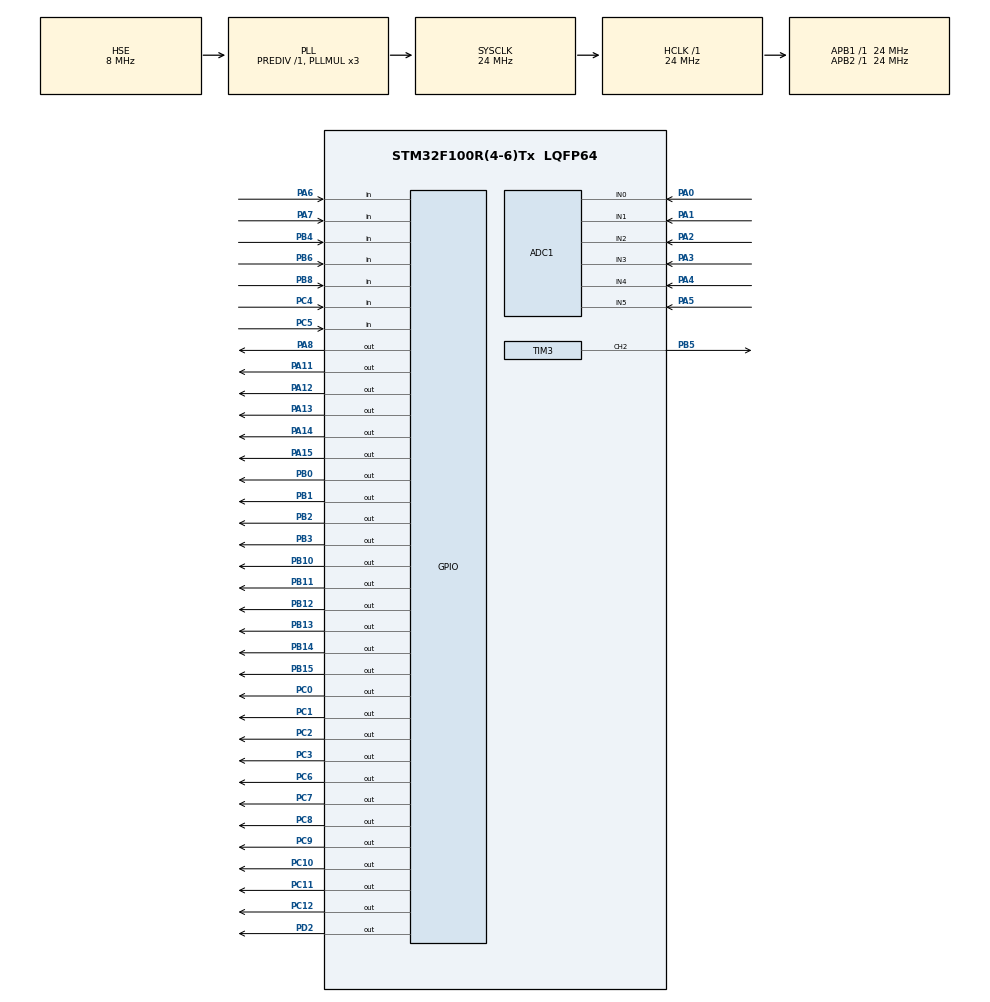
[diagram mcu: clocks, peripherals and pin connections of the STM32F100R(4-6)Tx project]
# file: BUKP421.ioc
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ADC1.Channel-0\#ChannelRegularConversion=ADC_CHANNEL_0
ADC1.Channel-1\#ChannelRegularConversion=ADC_CHANNEL_1
ADC1.Channel-2\#ChannelRegularConversion=ADC_CHANNEL_2
ADC1.Channel-3\#ChannelRegularConversion=ADC_CHANNEL_3
ADC1.Channel-4\#ChannelRegularConversion=ADC_CHANNEL_4
ADC1.Channel-5\#ChannelRegularConversion=ADC_CHANNEL_5
ADC1.ContinuousConvMode=ENABLE
ADC1.DataAlign=ADC_DATAALIGN_RIGHT
ADC1.DiscontinuousConvMode=DISABLE
ADC1.EnableAnalogWatchDog=false
ADC1.EnableRegularConversion=ENABLE
ADC1.ExternalTrigConv=ADC_SOFTWARE_START
ADC1.InjNumberOfConversion=0
ADC1.NbrOfConversion=6
ADC1.NbrOfConversionFlag=1
ADC1.Rank-0\#ChannelRegularConversion=1
ADC1.Rank-1\#ChannelRegularConversion=2
ADC1.Rank-2\#ChannelRegularConversion=3
ADC1.Rank-3\#ChannelRegularConversion=4
ADC1.Rank-4\#ChannelRegularConversion=5
ADC1.Rank-5\#ChannelRegularConversion=6
ADC1.SamplingTime-0\#ChannelRegularConversion=ADC_SAMPLETIME_1CYCLE_5
ADC1.SamplingTime-1\#ChannelRegularConversion=ADC_SAMPLETIME_1CYCLE_5
ADC1.SamplingTime-2\#ChannelRegularConversion=ADC_SAMPLETIME_1CYCLE_5
ADC1.SamplingTime-3\#ChannelRegularConversion=ADC_SAMPLETIME_1CYCLE_5
ADC1.SamplingTime-4\#ChannelRegularConversion=ADC_SAMPLETIME_1CYCLE_5
ADC1.SamplingTime-5\#ChannelRegularConversion=ADC_SAMPLETIME_1CYCLE_5
ADC1.ScanConvMode=ADC_SCAN_ENABLE
ADC1.master=1
Dma.ADC1.0.Direction=DMA_PERIPH_TO_MEMORY
Dma.ADC1.0.Instance=DMA1_Channel1
Dma.ADC1.0.MemDataAlignment=DMA_MDATAALIGN_HALFWORD
Dma.ADC1.0.MemInc=DMA_MINC_ENABLE
Dma.ADC1.0.Mode=DMA_CIRCULAR
Dma.ADC1.0.PeriphDataAlignment=DMA_PDATAALIGN_HALFWORD
Dma.ADC1.0.PeriphInc=DMA_PINC_DISABLE
Dma.ADC1.0.Priority=DMA_PRIORITY_MEDIUM
Dma.Request0=ADC1
Mcu.Family=STM32F1
Mcu.Name=STM32F100R(4-6)Tx
Mcu.Package=LQFP64
NVIC.DMA1_Channel1_IRQn=true\:0\:0\:false\:false\:true\:true
NVIC.PriorityGroup=NVIC_PRIORITYGROUP_4
NVIC.TIM1_BRK_TIM15_IRQn=true\:0\:0\:false\:false\:true\:true
NVIC.TIM1_TRG_COM_TIM17_IRQn=true\:0\:0\:false\:false\:true\:true
NVIC.TIM1_UP_TIM16_IRQn=true\:0\:0\:false\:false\:true\:true
NVIC.TIM6_DAC_IRQn=true\:0\:0\:false\:false\:true\:true
NVIC.TIM7_IRQn=true\:0\:0\:false\:false\:true\:true
PA0-WKUP.Signal=ADCx_IN0
PA1.Signal=ADCx_IN1
PA11.Signal=GPIO_Output
PA12.Signal=GPIO_Output
PA13.Signal=GPIO_Output
PA14.Signal=GPIO_Output
PA15.Signal=GPIO_Output
PA2.Signal=ADCx_IN2
PA3.Signal=ADCx_IN3
PA4.Signal=ADCx_IN4
PA5.Signal=ADCx_IN5
PA6.GPIO_Mode=GPIO_MODE_INPUT
PA6.GPIO_PuPd=GPIO_PULLUP
PA6.Signal=GPIO_Input
PA7.GPIO_Mode=GPIO_MODE_INPUT
PA7.GPIO_PuPd=GPIO_PULLUP
PA7.Signal=GPIO_Input
PA8.Signal=GPIO_Output
PB0.Signal=GPIO_Output
PB1.Signal=GPIO_Output
PB10.Signal=GPIO_Output
PB11.Signal=GPIO_Output
PB12.Signal=GPIO_Output
PB13.Signal=GPIO_Output
PB14.Signal=GPIO_Output
PB15.Signal=GPIO_Output
PB2.Signal=GPIO_Output
PB3.Signal=GPIO_Output
PB4.GPIO_PuPd=GPIO_PULLUP
PB4.Signal=GPIO_Input
PB5.Signal=S_TIM3_CH2
PB6.GPIO_PuPd=GPIO_PULLUP
PB6.Signal=GPIO_Input
PB8.GPIO_PuPd=GPIO_PULLDOWN
PB8.Signal=GPIO_Input
PC0.GPIO_ModeDefaultOutputPP=GPIO_MODE_OUTPUT_PP
PC0.GPIO_Speed=GPIO_SPEED_FREQ_LOW
PC0.PinState=GPIO_PIN_RESET
PC0.Signal=GPIO_Output
PC1.GPIO_ModeDefaultOutputPP=GPIO_MODE_OUTPUT_PP
PC1.GPIO_Speed=GPIO_SPEED_FREQ_LOW
PC1.PinState=GPIO_PIN_RESET
PC1.Signal=GPIO_Output
PC10.Signal=GPIO_Output
PC11.Signal=GPIO_Output
PC12.Signal=GPIO_Output
PC2.GPIO_ModeDefaultOutputPP=GPIO_MODE_OUTPUT_PP
PC2.GPIO_Speed=GPIO_SPEED_FREQ_LOW
PC2.PinState=GPIO_PIN_RESET
PC2.Signal=GPIO_Output
PC3.GPIO_ModeDefaultOutputPP=GPIO_MODE_OUTPUT_PP
PC3.GPIO_Speed=GPIO_SPEED_FREQ_LOW
PC3.PinState=GPIO_PIN_RESET
PC3.Signal=GPIO_Output
PC4.GPIO_Mode=GPIO_MODE_INPUT
PC4.GPIO_PuPd=GPIO_PULLUP
PC4.Signal=GPIO_Input
PC5.GPIO_Mode=GPIO_MODE_INPUT
PC5.GPIO_PuPd=GPIO_PULLUP
PC5.Signal=GPIO_Input
PC6.Signal=GPIO_Output
PC7.Signal=GPIO_Output
PC8.Signal=GPIO_Output
PC9.Signal=GPIO_Output
PD0-OSC_IN.Mode=HSE-External-Oscillator
PD0-OSC_IN.Signal=RCC_OSC_IN
PD1-OSC_OUT.Mode=HSE-External-Oscillator
PD1-OSC_OUT.Signal=RCC_OSC_OUT
PD2.Signal=GPIO_Output
ProjectManager.HeapSize=0x200
ProjectManager.StackSize=0x400
ProjectManager.TargetToolchain=MDK-ARM V5
RCC.AHBFreq_Value=24000000
RCC.APB1Freq_Value=24000000
RCC.APB1TimFreq_Value=24000000
RCC.APB2Freq_Value=24000000
RCC.APB2TimFreq_Value=24000000
RCC.HCLKFreq_Value=24000000
RCC.PLLMUL=RCC_PLL_MUL3
RCC.PLLSource=RCC_PLLSOURCE_HSE
RCC.SYSCLKFreq_VALUE=24000000
RCC.SYSCLKSource=RCC_SYSCLKSOURCE_PLLCLK
SH.ADCx_IN0.0=ADC1_IN0,IN0
SH.ADCx_IN1.0=ADC1_IN1,IN1
SH.ADCx_IN2.0=ADC1_IN2,IN2
SH.ADCx_IN3.0=ADC1_IN3,IN3
SH.ADCx_IN4.0=ADC1_IN4,IN4
SH.ADCx_IN5.0=ADC1_IN5,IN5
SH.S_TIM3_CH2.0=TIM3_CH2,PWM Generation2 CH2
TIM15.Period=1999
TIM15.Prescaler=23999
TIM16.Period=2999
TIM16.Prescaler=23999
TIM17.Period=14999
TIM17.Prescaler=23999
TIM3.Channel-PWM\ Generation2\ CH2=TIM_CHANNEL_2
TIM3.Period=999
TIM3.Prescaler=6
TIM3.Pulse-PWM\ Generation2\ CH2=500
TIM6.Period=499
TIM6.Prescaler=7999
TIM6.TIM_MasterOutputTrigger=TIM_TRGO_UPDATE
TIM7.Period=1999
TIM7.Prescaler=7999
TIM7.TIM_MasterOutputTrigger=TIM_TRGO_UPDATE
VP_SYS_VS_ND.Mode=No_Debug
VP_TIM15_VS_ClockSourceINT.Mode=Internal
VP_TIM16_VS_ClockSourceINT.Mode=Enable_Timer
VP_TIM17_VS_ClockSourceINT.Mode=Enable_Timer
VP_TIM3_VS_ClockSourceINT.Mode=Internal
VP_TIM6_VS_ClockSourceINT.Mode=Enable_Timer
VP_TIM7_VS_ClockSourceINT.Mode=Enable_Timer
board=BUKP421

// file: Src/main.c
/**
  ******************************************************************************
  * File Name          : main.c
  * Description        : Main program body
  ******************************************************************************
  ** This notice applies to any and all portions of this file
  * that are not between comment pairs USER CODE BEGIN and
  * USER CODE END. Other portions of this file, whether
  * inserted by the user or by software development tools
  * are owned by their respective copyright owners.
  *
  * COPYRIGHT(c) 2017 STMicroelectronics
  *
  * Redistribution and use in source and binary forms, with or without modification,
  * are permitted provided that the following conditions are met:
  *   1. Redistributions of source code must retain the above copyright notice,
  *      this list of conditions and the following disclaimer.
  *   2. Redistributions in binary form must reproduce the above copyright notice,
  *      this list of conditions and the following disclaimer in the documentation
  *      and/or other materials provided with the distribution.
  *   3. Neither the name of STMicroelectronics nor the names of its contributors
  *      may be used to endorse or promote products derived from this software
  *      without specific prior written permission.
  *
  * THIS SOFTWARE IS PROVIDED BY THE COPYRIGHT HOLDERS AND CONTRIBUTORS "AS IS"
  * AND ANY EXPRESS OR IMPLIED WARRANTIES, INCLUDING, BUT NOT LIMITED TO, THE
  * IMPLIED WARRANTIES OF MERCHANTABILITY AND FITNESS FOR A PARTICULAR PURPOSE ARE
  * DISCLAIMED. IN NO EVENT SHALL THE COPYRIGHT HOLDER OR CONTRIBUTORS BE LIABLE
  * FOR ANY DIRECT, INDIRECT, INCIDENTAL, SPECIAL, EXEMPLARY, OR CONSEQUENTIAL
  * DAMAGES (INCLUDING, BUT NOT LIMITED TO, PROCUREMENT OF SUBSTITUTE GOODS OR
  * SERVICES; LOSS OF USE, DATA, OR PROFITS; OR BUSINESS INTERRUPTION) HOWEVER
  * CAUSED AND ON ANY THEORY OF LIABILITY, WHETHER IN CONTRACT, STRICT LIABILITY,
  * OR TORT (INCLUDING NEGLIGENCE OR OTHERWISE) ARISING IN ANY WAY OUT OF THE USE
  * OF THIS SOFTWARE, EVEN IF ADVISED OF THE POSSIBILITY OF SUCH DAMAGE.
  *
  ******************************************************************************
  */
#include "main.h"
#include "stm32f1xx_hal.h"

ADC_HandleTypeDef hadc1;
DMA_HandleTypeDef hdma_adc1;

TIM_HandleTypeDef htim3;
TIM_HandleTypeDef htim6;
TIM_HandleTypeDef htim7;
TIM_HandleTypeDef htim15;
TIM_HandleTypeDef htim16;
TIM_HandleTypeDef htim17;

/* USER CODE BEGIN PV */
/* Private variables ---------------------------------------------------------*/
volatile uint16_t adc_data[5];//массив переменных для АЦП
char error;//переменная для ошибки
char adc_number;//переменная для номера переменной АЦП
char tim6_start=0;//переменная для контроля таймера 6
char tim3_start=0;//переменная для контроля таймера 3
char tim7_start=0;//переменная для контроля таймера 7
char tim16_start=0;//переменная для контроля таймера 16
char tim17_start=0;//переменная для контроля таймера 16
char adc_4_obriv=0;//переменная для обрыва на пс
char adc_5_obriv=0;//переменная для обрыва на пс
char vse_v_nach=0;//переменная для контроля начального состояния
char vse_v_kon=0;//переменная для контроля конечного состояния
/* USER CODE END PV */

void SystemClock_Config(void);
static void MX_GPIO_Init(void);
static void MX_DMA_Init(void);
static void MX_ADC1_Init(void);
static void MX_TIM3_Init(void);
static void MX_TIM6_Init(void);
static void MX_TIM7_Init(void);
static void MX_TIM16_Init(void);
static void MX_TIM17_Init(void);
static void MX_TIM15_Init(void);

void HAL_TIM_MspPostInit(TIM_HandleTypeDef *htim);

/* USER CODE BEGIN PFP */
/* Private function prototypes -----------------------------------------------*/

void neispravnost(void)//функция неисправности
{
    if (error!=0)//если есть ошибка
    {
HAL_GPIO_WritePin(GPIOD,GPIO_PIN_2,GPIO_PIN_RESET);//норму гасим
HAL_GPIO_WritePin(GPIOC,GPIO_PIN_12,GPIO_PIN_SET);//неисправность зажигаем
if((tim6_start==0)&(tim16_start==0)) //если флаг таймера 6 и 16  снят заходим в блок
{
HAL_TIM_Base_Start(&htim6);//запускаем таймер 6
HAL_TIM_Base_Start_IT(&htim6);//запускаем прерывания от него
tim6_start=1;//флаг запуска таймера 6 устнавливаем
}
    }
    else//если ошибок нет,
{
HAL_GPIO_WritePin(GPIOD,GPIO_PIN_2,GPIO_PIN_SET);//зажигаем норму
HAL_GPIO_WritePin(GPIOC,GPIO_PIN_12,GPIO_PIN_RESET);//гасим неисправность
HAL_TIM_Base_Stop(&htim6);//останавливаем таймер 6
HAL_TIM_Base_Stop_IT(&htim6);//останавливаем прерывания от таймера 6
tim6_start=0;//снимаем флаг таймера 6
if((tim7_start==0)&(tim6_start==0)&(tim16_start==0))//если таймеры 16,6,7 не запущены
{
tim3_start=0;//присваиваем переменной таймера 3 значение 0
HAL_TIM_PWM_Stop(&htim3,TIM_CHANNEL_2);//останавливаем таймер 3
}
}
if(((adc_data[0]>500)&(adc_data[0]<2850)|(HAL_GPIO_ReadPin(GPIOC,GPIO_PIN_5)==GPIO_PIN_SET))&//все ацп в норме и автоматика вкл.
((adc_data[1]>500)&(adc_data[1]<2850)|(HAL_GPIO_ReadPin(GPIOC,GPIO_PIN_4)==GPIO_PIN_SET))&
((adc_data[2]>500)&(adc_data[2]<2850)|(HAL_GPIO_ReadPin(GPIOA,GPIO_PIN_7)==GPIO_PIN_SET))&
((adc_data[3]>500)&(adc_data[3]<2850)|(HAL_GPIO_ReadPin(GPIOA,GPIO_PIN_6)==GPIO_PIN_SET))&
((adc_data[4]>500)&(adc_data[4]<2850))&
((adc_data[5]>500)&(adc_data[5]<2850))&
(HAL_GPIO_ReadPin(GPIOB,GPIO_PIN_8)==GPIO_PIN_RESET)&(tim17_start==0)&
(HAL_GPIO_ReadPin(GPIOB,GPIO_PIN_6)==GPIO_PIN_RESET))

{error=0;}// ошибки обнуляем
}

void kz_obriv(void)//функция кз и обрыва на концевиках клапанов и пусковых шлейфах
{
for(adc_number=0;adc_number<6;adc_number++)//для всех
{
if (adc_data[adc_number]<500)//если переменная в обрыве
{
switch(adc_number)//переключатель
{
case 0://для №1
if(HAL_GPIO_ReadPin(GPIOC,GPIO_PIN_5)==GPIO_PIN_RESET)//если дип 1 в положении вкл.
error=1;//выдаем ошибку
break;
case 1://для №2
if(HAL_GPIO_ReadPin(GPIOC,GPIO_PIN_4)==GPIO_PIN_RESET)//если дип 2 в положении вкл.
error=1;//выдаем ошибку
break;
case 2://для №3
if(HAL_GPIO_ReadPin(GPIOA,GPIO_PIN_7)==GPIO_PIN_RESET)//если дип 3 в положении вкл.
error=1;//выдаем ошибку
else//если дип 3 в положении выкл.
break;
case 3://для №4
if(HAL_GPIO_ReadPin(GPIOA,GPIO_PIN_6)==GPIO_PIN_RESET)//если дип 4 в положении вкл.
error=1;//выдаем ошибку
break;
case 4://для №4(ПС)
error=1;//выдаем ошибку
break;
case 5://для №5(ПС)
error=1;//выдаем ошибку
break;
}
}
if (adc_data[adc_number]>2850)//если переменная в кз
{
switch(adc_number)//переключатель
{
case 0://для №1
if(HAL_GPIO_ReadPin(GPIOC,GPIO_PIN_5)==GPIO_PIN_RESET)//если дип 1 в положении вкл.
error=1;//выдаем ошибку
break;
case 1://для №2
if(HAL_GPIO_ReadPin(GPIOC,GPIO_PIN_4)==GPIO_PIN_RESET)//если дип 2 в положении вкл.
error=1;//выдаем ошибку
break;
case 2://для №3
if(HAL_GPIO_ReadPin(GPIOA,GPIO_PIN_7)==GPIO_PIN_RESET)//если дип 3 в положении вкл.
error=1;//выдаем ошибку
else//если дип 3 в положении выкл.
break;
case 3://для №4
if(HAL_GPIO_ReadPin(GPIOA,GPIO_PIN_6)==GPIO_PIN_RESET)//если дип 4 в положении вкл.
error=1;//выдаем ошибку
break;
case 4://для №4(ПС)
error=1;//выдаем ошибку
break;
case 5://для №5(ПС)
error=1;//выдаем ошибку
break;
}
}
}
}

void ps(void)//функция для пс
{
if(HAL_GPIO_ReadPin(GPIOA,GPIO_PIN_6)==GPIO_PIN_SET)//если дип1 выкл
{HAL_GPIO_WritePin(GPIOC,GPIO_PIN_3,GPIO_PIN_SET);}//реле без напр
if(HAL_GPIO_ReadPin(GPIOA,GPIO_PIN_7)==GPIO_PIN_SET)//если дип2 выкл
{HAL_GPIO_WritePin(GPIOC,GPIO_PIN_2,GPIO_PIN_SET);}//реле без напр
if(HAL_GPIO_ReadPin(GPIOC,GPIO_PIN_4)==GPIO_PIN_SET)//если дип3 выкл
{HAL_GPIO_WritePin(GPIOC,GPIO_PIN_1,GPIO_PIN_SET);}//реле без напр
if(HAL_GPIO_ReadPin(GPIOC,GPIO_PIN_5)==GPIO_PIN_SET)//если дип4 выкл
{HAL_GPIO_WritePin(GPIOC,GPIO_PIN_0,GPIO_PIN_SET);}//реле без напр

if (HAL_GPIO_ReadPin(GPIOB,GPIO_PIN_8)==GPIO_PIN_SET)//если авт выкл ключем
{
HAL_GPIO_WritePin(GPIOC,GPIO_PIN_11,GPIO_PIN_SET);//зажигаем авт откл
error=1;//выдаем ошибку
}
else//если авт вкл
{
HAL_GPIO_WritePin(GPIOC,GPIO_PIN_11,GPIO_PIN_RESET);//гасим авт откл
}
if((adc_data[5]<2850)&(adc_data[5]>2600))//если на шлейфе пс1 пуск
{
HAL_GPIO_WritePin(GPIOA,GPIO_PIN_8,GPIO_PIN_RESET);//гасим зеленый
HAL_GPIO_WritePin(GPIOA,GPIO_PIN_11,GPIO_PIN_SET);//зажигаем красный
HAL_GPIO_WritePin(GPIOC,GPIO_PIN_0|GPIO_PIN_1|GPIO_PIN_2|GPIO_PIN_3,GPIO_PIN_SET);//реле без напряжением
}
if((adc_data[4]<2850)&(adc_data[4]>2600))//если на шлейфе пс2 пуск
{
HAL_GPIO_WritePin(GPIOA,GPIO_PIN_15,GPIO_PIN_RESET);//гасим зеленый
HAL_GPIO_WritePin(GPIOB,GPIO_PIN_3,GPIO_PIN_SET);//зажигаем красный
if (HAL_GPIO_ReadPin(GPIOB,GPIO_PIN_8)==GPIO_PIN_RESET)//если автоматика втключена
{HAL_GPIO_WritePin(GPIOC,GPIO_PIN_0|GPIO_PIN_1|GPIO_PIN_2|GPIO_PIN_3,GPIO_PIN_SET);}//реле без напряжения
}

if((tim6_start==0)&(tim6_start==0))//если таймер 6 и 16 не запущен
{
if(((adc_data[4]<2850)&(adc_data[4]>2600))|((adc_data[5]<2850)&(adc_data[5]>2600)))//и на каком либо пс сигнал пуск
{
HAL_TIM_Base_Start(&htim7);//запускаем таймер 7
HAL_TIM_Base_Start_IT(&htim7);//прерывания от него
tim7_start=1;//флаг запуска таймера 7
}
else//если пуска нет
{
HAL_TIM_Base_Stop(&htim7);//стоп таймер 7
HAL_TIM_Base_Stop_IT(&htim7);//прерывания от него
tim7_start=0;//флаг остановки таймера 7
}
}
else//если таймер 6 запущен
{
HAL_TIM_Base_Stop(&htim7);//стоп таймер 7
HAL_TIM_Base_Stop_IT(&htim7);//прерывания от него
tim7_start=0;//флаг остановки таймера 7
}

if((adc_data[5]<2600)&(adc_data[5]>500))//если на шлейфе пс1 норма
{
HAL_GPIO_WritePin(GPIOA,GPIO_PIN_8,GPIO_PIN_SET);//зажигаем зеленый
HAL_GPIO_WritePin(GPIOA,GPIO_PIN_11,GPIO_PIN_RESET);//гасим красный
if(!((adc_data[4]<2850)&(adc_data[4]>2600)))//если на другой пс нет пуска
{
if(HAL_GPIO_ReadPin(GPIOA,GPIO_PIN_6)==GPIO_PIN_RESET)//дип 1 вкл
{HAL_GPIO_WritePin(GPIOC,GPIO_PIN_3,GPIO_PIN_RESET);}//реле под напряжением
else//дип1 выкл
{HAL_GPIO_WritePin(GPIOC,GPIO_PIN_3,GPIO_PIN_SET);}//реле без напряжения
if(HAL_GPIO_ReadPin(GPIOA,GPIO_PIN_7)==GPIO_PIN_RESET)//дип 2 вкл
{HAL_GPIO_WritePin(GPIOC,GPIO_PIN_2,GPIO_PIN_RESET);}//реле под напряжением
else//дип2 выкл
{HAL_GPIO_WritePin(GPIOC,GPIO_PIN_2,GPIO_PIN_SET);}//реле без напряжения
if(HAL_GPIO_ReadPin(GPIOC,GPIO_PIN_4)==GPIO_PIN_RESET)//дип 3 вкл
{HAL_GPIO_WritePin(GPIOC,GPIO_PIN_1,GPIO_PIN_RESET);}//реле под напряжением
else//дип3 выкл
{HAL_GPIO_WritePin(GPIOC,GPIO_PIN_1,GPIO_PIN_SET);}//реле без напряжения
if(HAL_GPIO_ReadPin(GPIOC,GPIO_PIN_5)==GPIO_PIN_RESET)//дип 4 вкл
{HAL_GPIO_WritePin(GPIOC,GPIO_PIN_0,GPIO_PIN_RESET);}//реле под напряжением
else//дип4 выкл
{HAL_GPIO_WritePin(GPIOC,GPIO_PIN_0,GPIO_PIN_SET);}//реле без напряжения
}
else//если на другой пс пуск
{
if (HAL_GPIO_ReadPin(GPIOB,GPIO_PIN_8)==GPIO_PIN_RESET)//если автоматика вкл.
HAL_GPIO_WritePin(GPIOC,GPIO_PIN_0|GPIO_PIN_1|GPIO_PIN_2|GPIO_PIN_3,GPIO_PIN_SET);//все реле без напряжения
}//реле без напряжения
}
if((adc_data[4]<2600)&(adc_data[4]>500))//если на шлейфе пс2 норма
{
HAL_GPIO_WritePin(GPIOA,GPIO_PIN_15,GPIO_PIN_SET);//зажигаем зеленый
HAL_GPIO_WritePin(GPIOB,GPIO_PIN_3,GPIO_PIN_RESET);//гасим красный
if(!((adc_data[5]<2850)&(adc_data[5]>2600)))//если на другой пс нет пуска
{
if(HAL_GPIO_ReadPin(GPIOA,GPIO_PIN_6)==GPIO_PIN_RESET)//дип 1 вкл
{HAL_GPIO_WritePin(GPIOC,GPIO_PIN_3,GPIO_PIN_RESET);}//реле под напряжением
else//дип1 выкл
{HAL_GPIO_WritePin(GPIOC,GPIO_PIN_3,GPIO_PIN_SET);}//реле без напряжения
if(HAL_GPIO_ReadPin(GPIOA,GPIO_PIN_7)==GPIO_PIN_RESET)//дип 2 вкл
{HAL_GPIO_WritePin(GPIOC,GPIO_PIN_2,GPIO_PIN_RESET);}//реле под напряжением
else//дип2 выкл
{HAL_GPIO_WritePin(GPIOC,GPIO_PIN_2,GPIO_PIN_SET);}//реле без напряжения
if(HAL_GPIO_ReadPin(GPIOC,GPIO_PIN_4)==GPIO_PIN_RESET)//дип 3 вкл
{HAL_GPIO_WritePin(GPIOC,GPIO_PIN_1,GPIO_PIN_RESET);}//реле под напряжением
else//дип3 выкл
{HAL_GPIO_WritePin(GPIOC,GPIO_PIN_1,GPIO_PIN_SET);}//реле без напряжения
if(HAL_GPIO_ReadPin(GPIOC,GPIO_PIN_5)==GPIO_PIN_RESET)//дип 4 вкл
{HAL_GPIO_WritePin(GPIOC,GPIO_PIN_0,GPIO_PIN_RESET);}//реле под напряжением
else//дип4 выкл
{HAL_GPIO_WritePin(GPIOC,GPIO_PIN_0,GPIO_PIN_SET);}//реле без напряжения
}
else//если на другой пс пуск
{HAL_GPIO_WritePin(GPIOC,GPIO_PIN_0|GPIO_PIN_1|GPIO_PIN_2|GPIO_PIN_3,GPIO_PIN_SET);}//реле без напряжения
}
}

void konc_ind(void)//функция индикации положения клапана
{
for(adc_number=0;adc_number<4;adc_number++)//для переменных концевиков клапанов
{
if ((adc_data[adc_number]<2850)&(adc_data[adc_number]>2700))//если переменная входит в диапазон начального положения клапана
{
switch(adc_number) //переключатель
{
case 0://для №1
if(HAL_GPIO_ReadPin(GPIOC,GPIO_PIN_5)==GPIO_PIN_RESET)//если дип 1 в положении вкл.
{HAL_GPIO_WritePin(GPIOB,GPIO_PIN_0,GPIO_PIN_SET);}//зажигаем индикацию начального для №1
else//если дип 1 в положении выкл.
{HAL_GPIO_WritePin(GPIOB,GPIO_PIN_0,GPIO_PIN_RESET);}//гасим индикацию начального для №1
break;
case 1://для №2
if(HAL_GPIO_ReadPin(GPIOC,GPIO_PIN_4)==GPIO_PIN_RESET)//если дип 2 в положении вкл.
{HAL_GPIO_WritePin(GPIOB,GPIO_PIN_10,GPIO_PIN_SET);}//зажигаем индикацию начального для №2
else//если дип 2 в положении выкл.
{HAL_GPIO_WritePin(GPIOB,GPIO_PIN_10,GPIO_PIN_RESET);}//гасим индикацию начального для №2
break;
case 2://для №3
if(HAL_GPIO_ReadPin(GPIOA,GPIO_PIN_7)==GPIO_PIN_RESET)//если дип 3 в положении вкл.
{HAL_GPIO_WritePin(GPIOB,GPIO_PIN_14,GPIO_PIN_SET);}//зажигаем индикацию начального для №3
else//если дип 3 в положении выкл.
{HAL_GPIO_WritePin(GPIOB,GPIO_PIN_14,GPIO_PIN_RESET);}//гасим индикацию начального для №3
break;
case 3://для №4
if(HAL_GPIO_ReadPin(GPIOA,GPIO_PIN_6)==GPIO_PIN_RESET)//если дип 4 в положении вкл.
{HAL_GPIO_WritePin(GPIOB,GPIO_PIN_15,GPIO_PIN_SET);}//зажигаем индикацию начального для №4
else//если дип 4 в положении выкл.
{HAL_GPIO_WritePin(GPIOB,GPIO_PIN_15,GPIO_PIN_RESET);}//гасим индикацию начального для №4
break;
}
}
else//если переменная НЕ входит в диапазон начального положения клапана
{
switch(adc_number)   //переключатель
{
case 0://для №1
if(adc_data[0]<2850)//если переменная меньше переменной кз
{HAL_GPIO_WritePin(GPIOB,GPIO_PIN_0,GPIO_PIN_RESET);}//гасим индикацию начального для №1
break;
case 1://для №2
if(adc_data[1]<2850)//если переменная меньше переменной кз
{HAL_GPIO_WritePin(GPIOB,GPIO_PIN_10,GPIO_PIN_RESET);}//гасим индикацию начального для №2
break;
case 2://для №3
if(adc_data[2]<2850) //если переменная меньше переменной кз
{HAL_GPIO_WritePin(GPIOB,GPIO_PIN_14,GPIO_PIN_RESET);}//гасим индикацию начального для №3
break;
case 3://для №4
if(adc_data[3]<2850)//если переменная меньше переменной кз
{HAL_GPIO_WritePin(GPIOB,GPIO_PIN_15,GPIO_PIN_RESET);}//гасим индикацию начального для №4
break;
}
}

if ((adc_data[adc_number]<2700)&(adc_data[adc_number]>2600))//если переменная входит в диапазон промежуточного положения клапана
{
switch(adc_number)   //переключатель
{
case 0://для №1
if(HAL_GPIO_ReadPin(GPIOC,GPIO_PIN_5)==GPIO_PIN_RESET)//если дип 1 в положении вкл.
{HAL_GPIO_WritePin(GPIOB,GPIO_PIN_1,GPIO_PIN_SET);}//зажигаем индикацию промежуточного для №1
else//если дип 1 в положении выкл.
{HAL_GPIO_WritePin(GPIOB,GPIO_PIN_1,GPIO_PIN_RESET);}//гасим индикацию промежуточного для №1
break;
case 1://для №2
if(HAL_GPIO_ReadPin(GPIOC,GPIO_PIN_4)==GPIO_PIN_RESET)//если дип 2 в положении вкл.
{HAL_GPIO_WritePin(GPIOB,GPIO_PIN_11,GPIO_PIN_SET);}//зажигаем индикацию промежуточного для №2
else//если дип 2 в положении выкл.
{HAL_GPIO_WritePin(GPIOB,GPIO_PIN_11,GPIO_PIN_RESET);}//гасим индикацию промежуточного для №2
break;
case 2://для №3
if(HAL_GPIO_ReadPin(GPIOA,GPIO_PIN_7)==GPIO_PIN_RESET)//если дип 3 в положении вкл.
{HAL_GPIO_WritePin(GPIOB,GPIO_PIN_13,GPIO_PIN_SET);}//зажигаем индикацию промежуточного для №3
else//если дип 3 в положении выкл.
{HAL_GPIO_WritePin(GPIOB,GPIO_PIN_13,GPIO_PIN_RESET);}//гасим индикацию промежуточного для №3
break;
case 3://для №4
if(HAL_GPIO_ReadPin(GPIOA,GPIO_PIN_6)==GPIO_PIN_RESET)//если дип 4 в положении вкл.
{HAL_GPIO_WritePin(GPIOC,GPIO_PIN_8,GPIO_PIN_SET);}//зажигаем индикацию промежуточного для №4
else//если дип 4 в положении выкл.
{HAL_GPIO_WritePin(GPIOC,GPIO_PIN_8,GPIO_PIN_RESET);}//гасим индикацию промежуточного для №4
break;
}
}
else//если переменная НЕ входит в диапазон промежуточного положения клапана
{
switch(adc_number)      //переключатель
{
case 3://для №1
HAL_GPIO_WritePin(GPIOB,GPIO_PIN_1,GPIO_PIN_RESET);//гасим индикацию промежуточного для №1
break;
case 2://для №2
HAL_GPIO_WritePin(GPIOB,GPIO_PIN_11,GPIO_PIN_RESET);//гасим индикацию промежуточного для №2
break;
case 1://для №3
HAL_GPIO_WritePin(GPIOB,GPIO_PIN_13,GPIO_PIN_RESET);//гасим индикацию промежуточного для №3
break;
case 0://для №4
HAL_GPIO_WritePin(GPIOC,GPIO_PIN_8,GPIO_PIN_RESET);//гасим индикацию промежуточного для №4
break;
}
}

if ((adc_data[adc_number]<2600)&(adc_data[adc_number]>500))//если переменная входит в диапазон конечного положения клапана
{
switch(adc_number)       //переключатель
{
case 0://для №1
if(HAL_GPIO_ReadPin(GPIOC,GPIO_PIN_5)==GPIO_PIN_RESET)//если дип 1 в положении вкл.
{HAL_GPIO_WritePin(GPIOB,GPIO_PIN_2,GPIO_PIN_SET);}//зажигаем индикацию конечного для №1
else//если дип 1 в положении выкл.
{HAL_GPIO_WritePin(GPIOB,GPIO_PIN_2,GPIO_PIN_RESET);}//гасим индикацию конечного для №1
break;
case 1://для №2
if(HAL_GPIO_ReadPin(GPIOC,GPIO_PIN_4)==GPIO_PIN_RESET)//если дип 2 в положении вкл.
{HAL_GPIO_WritePin(GPIOB,GPIO_PIN_12,GPIO_PIN_SET);}//зажигаем индикацию конечного для №2
else//если дип 2 в положении выкл.
{HAL_GPIO_WritePin(GPIOB,GPIO_PIN_12,GPIO_PIN_RESET);}//гасим индикацию конечного для №2
break;
case 2://для №3
if(HAL_GPIO_ReadPin(GPIOA,GPIO_PIN_7)==GPIO_PIN_RESET)//если дип 3 в положении вкл.
{HAL_GPIO_WritePin(GPIOC,GPIO_PIN_6,GPIO_PIN_SET);}//зажигаем индикацию конечного для №3
else//если дип 3 в положении выкл.
{HAL_GPIO_WritePin(GPIOC,GPIO_PIN_6,GPIO_PIN_RESET);}//гасим индикацию конечного для №3
break;
case 3://для №4
if(HAL_GPIO_ReadPin(GPIOA,GPIO_PIN_6)==GPIO_PIN_RESET)//если дип 4 в положении вкл.
{HAL_GPIO_WritePin(GPIOC,GPIO_PIN_7,GPIO_PIN_SET);}//зажигаем индикацию конечного для №4
else//если дип 4 в положении выкл.
{HAL_GPIO_WritePin(GPIOC,GPIO_PIN_7,GPIO_PIN_RESET);}//гасим индикацию конечного для №4
break;
}
}
else//если переменная НЕ входит в диапазон конечного положения клапана
{
switch(adc_number)      //переключатель
{
case 0://для №1
if(adc_data[0]>500)//если переменная больше переменной обрыва
{HAL_GPIO_WritePin(GPIOB,GPIO_PIN_2,GPIO_PIN_RESET);}//гасим индикацию конечного для №1
break;
case 1://для №2
if(adc_data[1]>500)//если переменная больше переменной обрыва
{HAL_GPIO_WritePin(GPIOB,GPIO_PIN_12,GPIO_PIN_RESET);}//гасим индикацию конечного для №2
break;
case 2://для №3
if(adc_data[2]>500)//если переменная больше переменной обрыва
{HAL_GPIO_WritePin(GPIOC,GPIO_PIN_6,GPIO_PIN_RESET);}//гасим индикацию конечного для №3
break;
case 3://для №4
if(adc_data[3]>500)//если переменная больше переменной обрыва
{HAL_GPIO_WritePin(GPIOC,GPIO_PIN_7,GPIO_PIN_RESET);}//гасим индикацию конечного для №4
break;
}
}
}
}

void koncevik(void)//функция концевика крышки
{
if (HAL_GPIO_ReadPin(GPIOB,GPIO_PIN_6)==GPIO_PIN_SET)//если концевик замкнут
{
error=1;//выдаем ошибку
}
}
void optron(void)//оптопары
{
if (HAL_GPIO_ReadPin(GPIOB,GPIO_PIN_4)==GPIO_PIN_RESET)//если дип выключен(нормально разомкнутое состояние)
{
if(error==0)//норма
{HAL_GPIO_WritePin(GPIOC,GPIO_PIN_10,GPIO_PIN_SET);}//оптопара сет

else
{HAL_GPIO_WritePin(GPIOC,GPIO_PIN_10,GPIO_PIN_RESET);}//если нет ресет

if ((((adc_data[0]<2850)&(adc_data[0]>2700))|(HAL_GPIO_ReadPin(GPIOC,GPIO_PIN_5)==GPIO_PIN_SET))&//если все в начальном сет
(((adc_data[1]<2850)&(adc_data[1]>2700))|(HAL_GPIO_ReadPin(GPIOC,GPIO_PIN_4)==GPIO_PIN_SET))&
(((adc_data[2]<2850)&(adc_data[2]>2700))|(HAL_GPIO_ReadPin(GPIOA,GPIO_PIN_7)==GPIO_PIN_SET))&
(((adc_data[3]<2850)&(adc_data[3]>2700))|(HAL_GPIO_ReadPin(GPIOA,GPIO_PIN_6)==GPIO_PIN_SET)))
{
HAL_GPIO_WritePin(GPIOA,GPIO_PIN_14,GPIO_PIN_SET);
if (vse_v_nach==1)
{
tim16_start=1;
HAL_TIM_PWM_Start(&htim3,TIM_CHANNEL_2);
HAL_TIM_Base_Start(&htim16);//запускаем таймер 6
HAL_TIM_Base_Start_IT(&htim16);//запускаем прерывания от него
vse_v_nach=0;
}
}
else
{
HAL_GPIO_WritePin(GPIOA,GPIO_PIN_14,GPIO_PIN_RESET);
vse_v_nach=1;
}	//если нет ресет

if(((adc_data[5]<2850)&(adc_data[5]>2600))|((adc_data[4]<2850)&(adc_data[4]>2600)))//если пуск сет
{HAL_GPIO_WritePin(GPIOA,GPIO_PIN_13,GPIO_PIN_SET);}
else
{HAL_GPIO_WritePin(GPIOA,GPIO_PIN_13,GPIO_PIN_RESET);}//если нет ресет

if(error==1)
{
HAL_TIM_Base_Start(&htim15);//запускаем таймер 6
HAL_TIM_Base_Start_IT(&htim15);//запускаем прерывания от него
}
else
{
HAL_TIM_Base_Stop(&htim15);//запускаем таймер 6
HAL_TIM_Base_Stop_IT(&htim15);//запускаем прерывания от него
HAL_GPIO_WritePin(GPIOA,GPIO_PIN_12,GPIO_PIN_RESET);
}
if ((((adc_data[0]<2600)&(adc_data[0]>500))|(HAL_GPIO_ReadPin(GPIOC,GPIO_PIN_5)==GPIO_PIN_SET))&//если все в конечном сет
(((adc_data[1]<2600)&(adc_data[1]>500))|(HAL_GPIO_ReadPin(GPIOC,GPIO_PIN_4)==GPIO_PIN_SET))&
(((adc_data[2]<2600)&(adc_data[2]>500))|(HAL_GPIO_ReadPin(GPIOA,GPIO_PIN_7)==GPIO_PIN_SET))&
(((adc_data[3]<2600)&(adc_data[3]>500))|(HAL_GPIO_ReadPin(GPIOA,GPIO_PIN_6)==GPIO_PIN_SET)))
{
HAL_GPIO_WritePin(GPIOC,GPIO_PIN_9,GPIO_PIN_SET);
if (vse_v_kon==1)
{
tim16_start=1;
HAL_TIM_PWM_Start(&htim3,TIM_CHANNEL_2);
HAL_TIM_Base_Start(&htim16);//запускаем таймер 6
HAL_TIM_Base_Start_IT(&htim16);//запускаем прерывания от него
vse_v_kon=0;
}
}
else
{
	HAL_GPIO_WritePin(GPIOC,GPIO_PIN_9,GPIO_PIN_RESET);
	vse_v_kon=1;
}//если нет ресет
}
else//то же только инверсия
{
if (error==0)//норма
{HAL_GPIO_WritePin(GPIOC,GPIO_PIN_10,GPIO_PIN_RESET);}
else
{HAL_GPIO_WritePin(GPIOC,GPIO_PIN_10,GPIO_PIN_SET);}

if ((((adc_data[0]<2850)&(adc_data[0]>2700))|(HAL_GPIO_ReadPin(GPIOC,GPIO_PIN_5)==GPIO_PIN_SET))&
(((adc_data[1]<2850)&(adc_data[1]>2700))|(HAL_GPIO_ReadPin(GPIOC,GPIO_PIN_4)==GPIO_PIN_SET))&
(((adc_data[2]<2850)&(adc_data[2]>2700))|(HAL_GPIO_ReadPin(GPIOA,GPIO_PIN_7)==GPIO_PIN_SET))&
(((adc_data[3]<2850)&(adc_data[3]>2700))|(HAL_GPIO_ReadPin(GPIOA,GPIO_PIN_6)==GPIO_PIN_SET)))
{
HAL_GPIO_WritePin(GPIOA,GPIO_PIN_14,GPIO_PIN_RESET);
if (vse_v_nach==1)
{
tim16_start=1;
HAL_TIM_PWM_Start(&htim3,TIM_CHANNEL_2);
HAL_TIM_Base_Start(&htim16);//запускаем таймер 6
HAL_TIM_Base_Start_IT(&htim16);//запускаем прерывания от него
vse_v_nach=0;
}
}
else
{
HAL_GPIO_WritePin(GPIOA,GPIO_PIN_14,GPIO_PIN_SET);
vse_v_nach=1;
}

if(((adc_data[5]<2850)&(adc_data[5]>2600))|((adc_data[4]<2850)&(adc_data[4]>2600)))
{HAL_GPIO_WritePin(GPIOA,GPIO_PIN_13,GPIO_PIN_RESET);}
else
{HAL_GPIO_WritePin(GPIOA,GPIO_PIN_13,GPIO_PIN_SET);}

if(error==1)
{
HAL_TIM_Base_Start(&htim15);//запускаем таймер 6
HAL_TIM_Base_Start_IT(&htim15);//запускаем прерывания от него
}
else
{
HAL_TIM_Base_Stop(&htim15);//запускаем таймер 6
HAL_TIM_Base_Stop_IT(&htim15);//запускаем прерывания от него
HAL_GPIO_WritePin(GPIOA,GPIO_PIN_12,GPIO_PIN_SET);
}

if ((((adc_data[0]<2600)&(adc_data[0]>500))|(HAL_GPIO_ReadPin(GPIOC,GPIO_PIN_5)==GPIO_PIN_SET))&
(((adc_data[1]<2600)&(adc_data[1]>500))|(HAL_GPIO_ReadPin(GPIOC,GPIO_PIN_4)==GPIO_PIN_SET))&
(((adc_data[2]<2600)&(adc_data[2]>500))|(HAL_GPIO_ReadPin(GPIOA,GPIO_PIN_7)==GPIO_PIN_SET))&
(((adc_data[3]<2600)&(adc_data[3]>500))|(HAL_GPIO_ReadPin(GPIOA,GPIO_PIN_6)==GPIO_PIN_SET)))
{
HAL_GPIO_WritePin(GPIOC,GPIO_PIN_9,GPIO_PIN_RESET);
if (vse_v_kon==1)
{
tim16_start=1;
HAL_TIM_PWM_Start(&htim3,TIM_CHANNEL_2);
HAL_TIM_Base_Start(&htim16);//запускаем таймер 6
HAL_TIM_Base_Start_IT(&htim16);//запускаем прерывания от него
vse_v_kon=0;
}
}
else
{
HAL_GPIO_WritePin(GPIOC,GPIO_PIN_9,GPIO_PIN_SET);
vse_v_kon=1;
}
}
}
void kontrol_220(void)
{
if((((adc_data[0]<2600)&(adc_data[0]>500))&(!((adc_data[5]<2850)&(adc_data[5]>2600)))&(!((adc_data[4]<2850)&(adc_data[4]>2600))))|
(((adc_data[1]<2600)&(adc_data[1]>500))&(!((adc_data[5]<2850)&(adc_data[5]>2600)))&(!((adc_data[4]<2850)&(adc_data[4]>2600))))|
(((adc_data[2]<2600)&(adc_data[2]>500))&(!((adc_data[5]<2850)&(adc_data[5]>2600)))&(!((adc_data[4]<2850)&(adc_data[4]>2600))))|
(((adc_data[3]<2600)&(adc_data[3]>500))&(!((adc_data[5]<2850)&(adc_data[5]>2600)))&(!((adc_data[4]<2850)&(adc_data[4]>2600)))))
{
HAL_TIM_Base_Start(&htim17);//запускаем таймер 6
HAL_TIM_Base_Start_IT(&htim17);//запускаем прерывания от него
tim17_start=1;
}
else
{tim17_start=0;}

}

/* USER CODE END PFP */

int main(void)
{

  /* MCU Configuration----------------------------------------------------------*/

  /* Reset of all peripherals, Initializes the Flash interface and the Systick. */
  HAL_Init();

  /* Configure the system clock */
  SystemClock_Config();

  /* Initialize all configured peripherals */
  MX_GPIO_Init();
  MX_DMA_Init();
  MX_ADC1_Init();
  MX_TIM3_Init();
  MX_TIM6_Init();
  MX_TIM7_Init();
  MX_TIM16_Init();
  MX_TIM17_Init();
  MX_TIM15_Init();

  /* USER CODE BEGIN 2 */
HAL_ADC_Start_DMA(&hadc1,(uint32_t*) &adc_data,6);//запускаем DMA АЦП
  /* USER CODE END 2 */

  /* Infinite loop */
  /* USER CODE BEGIN WHILE */
  while (1)
  {

//koncevik();//вызываем функцию контроля концевика крышки
kz_obriv();//вызываем функцию кз обрыв
ps();//пусковые шлейфы
konc_ind();//вызываем функцию положения клапана
neispravnost();//вызываем функцию неисправности
optron();
kontrol_220();
koncevik();
  /* USER CODE END WHILE */

  }

}

/** System Clock Configuration
*/
void SystemClock_Config(void)
{

  RCC_OscInitTypeDef RCC_OscInitStruct;
  RCC_ClkInitTypeDef RCC_ClkInitStruct;
  RCC_PeriphCLKInitTypeDef PeriphClkInit;

    /**Initializes the CPU, AHB and APB busses clocks
    */
  RCC_OscInitStruct.OscillatorType = RCC_OSCILLATORTYPE_HSE;
  RCC_OscInitStruct.HSEState = RCC_HSE_ON;
  RCC_OscInitStruct.HSEPredivValue = RCC_HSE_PREDIV_DIV1;
  RCC_OscInitStruct.PLL.PLLState = RCC_PLL_ON;
  RCC_OscInitStruct.PLL.PLLSource = RCC_PLLSOURCE_HSE;
  RCC_OscInitStruct.PLL.PLLMUL = RCC_PLL_MUL3;
  if (HAL_RCC_OscConfig(&RCC_OscInitStruct) != HAL_OK)
  {
    _Error_Handler(__FILE__, __LINE__);
  }

    /**Initializes the CPU, AHB and APB busses clocks
    */
  RCC_ClkInitStruct.ClockType = RCC_CLOCKTYPE_HCLK|RCC_CLOCKTYPE_SYSCLK
                              |RCC_CLOCKTYPE_PCLK1|RCC_CLOCKTYPE_PCLK2;
  RCC_ClkInitStruct.SYSCLKSource = RCC_SYSCLKSOURCE_PLLCLK;
  RCC_ClkInitStruct.AHBCLKDivider = RCC_SYSCLK_DIV1;
  RCC_ClkInitStruct.APB1CLKDivider = RCC_HCLK_DIV1;
  RCC_ClkInitStruct.APB2CLKDivider = RCC_HCLK_DIV1;

  if (HAL_RCC_ClockConfig(&RCC_ClkInitStruct, FLASH_LATENCY_0) != HAL_OK)
  {
    _Error_Handler(__FILE__, __LINE__);
  }

  PeriphClkInit.PeriphClockSelection = RCC_PERIPHCLK_ADC;
  PeriphClkInit.AdcClockSelection = RCC_ADCPCLK2_DIV2;
  if (HAL_RCCEx_PeriphCLKConfig(&PeriphClkInit) != HAL_OK)
  {
    _Error_Handler(__FILE__, __LINE__);
  }

    /**Configure the Systick interrupt time
    */
  HAL_SYSTICK_Config(HAL_RCC_GetHCLKFreq()/1000);

    /**Configure the Systick
    */
  HAL_SYSTICK_CLKSourceConfig(SYSTICK_CLKSOURCE_HCLK);

  /* SysTick_IRQn interrupt configuration */
  HAL_NVIC_SetPriority(SysTick_IRQn, 0, 0);
}

/* ADC1 init function */
static void MX_ADC1_Init(void)
{

  ADC_ChannelConfTypeDef sConfig;

    /**Common config
    */
  hadc1.Instance = ADC1;
  hadc1.Init.ScanConvMode = ADC_SCAN_ENABLE;
  hadc1.Init.ContinuousConvMode = ENABLE;
  hadc1.Init.DiscontinuousConvMode = DISABLE;
  hadc1.Init.ExternalTrigConv = ADC_SOFTWARE_START;
  hadc1.Init.DataAlign = ADC_DATAALIGN_RIGHT;
  hadc1.Init.NbrOfConversion = 6;
  if (HAL_ADC_Init(&hadc1) != HAL_OK)
  {
    _Error_Handler(__FILE__, __LINE__);
  }

    /**Configure Regular Channel
    */
  sConfig.Channel = ADC_CHANNEL_0;
  sConfig.Rank = 1;
  sConfig.SamplingTime = ADC_SAMPLETIME_1CYCLE_5;
  if (HAL_ADC_ConfigChannel(&hadc1, &sConfig) != HAL_OK)
  {
    _Error_Handler(__FILE__, __LINE__);
  }

    /**Configure Regular Channel
    */
  sConfig.Channel = ADC_CHANNEL_1;
  sConfig.Rank = 2;
  if (HAL_ADC_ConfigChannel(&hadc1, &sConfig) != HAL_OK)
  {
    _Error_Handler(__FILE__, __LINE__);
  }

    /**Configure Regular Channel
    */
  sConfig.Channel = ADC_CHANNEL_2;
  sConfig.Rank = 3;
  if (HAL_ADC_ConfigChannel(&hadc1, &sConfig) != HAL_OK)
  {
    _Error_Handler(__FILE__, __LINE__);
  }

    /**Configure Regular Channel
    */
  sConfig.Channel = ADC_CHANNEL_3;
  sConfig.Rank = 4;
  if (HAL_ADC_ConfigChannel(&hadc1, &sConfig) != HAL_OK)
  {
    _Error_Handler(__FILE__, __LINE__);
  }

    /**Configure Regular Channel
    */
  sConfig.Channel = ADC_CHANNEL_4;
  sConfig.Rank = 5;
  if (HAL_ADC_ConfigChannel(&hadc1, &sConfig) != HAL_OK)
  {
    _Error_Handler(__FILE__, __LINE__);
  }

    /**Configure Regular Channel
    */
  sConfig.Channel = ADC_CHANNEL_5;
  sConfig.Rank = 6;
  if (HAL_ADC_ConfigChannel(&hadc1, &sConfig) != HAL_OK)
  {
    _Error_Handler(__FILE__, __LINE__);
  }

}

/* TIM3 init function */
static void MX_TIM3_Init(void)
{

  TIM_ClockConfigTypeDef sClockSourceConfig;
  TIM_MasterConfigTypeDef sMasterConfig;
  TIM_OC_InitTypeDef sConfigOC;

  htim3.Instance = TIM3;
  htim3.Init.Prescaler = 6;
  htim3.Init.CounterMode = TIM_COUNTERMODE_UP;
  htim3.Init.Period = 999;
  htim3.Init.ClockDivision = TIM_CLOCKDIVISION_DIV1;
  if (HAL_TIM_Base_Init(&htim3) != HAL_OK)
  {
    _Error_Handler(__FILE__, __LINE__);
  }

  sClockSourceConfig.ClockSource = TIM_CLOCKSOURCE_INTERNAL;
  if (HAL_TIM_ConfigClockSource(&htim3, &sClockSourceConfig) != HAL_OK)
  {
    _Error_Handler(__FILE__, __LINE__);
  }

  if (HAL_TIM_PWM_Init(&htim3) != HAL_OK)
  {
    _Error_Handler(__FILE__, __LINE__);
  }

  sMasterConfig.MasterOutputTrigger = TIM_TRGO_RESET;
  sMasterConfig.MasterSlaveMode = TIM_MASTERSLAVEMODE_DISABLE;
  if (HAL_TIMEx_MasterConfigSynchronization(&htim3, &sMasterConfig) != HAL_OK)
  {
    _Error_Handler(__FILE__, __LINE__);
  }

  sConfigOC.OCMode = TIM_OCMODE_PWM1;
  sConfigOC.Pulse = 500;
  sConfigOC.OCPolarity = TIM_OCPOLARITY_HIGH;
  sConfigOC.OCFastMode = TIM_OCFAST_DISABLE;
  if (HAL_TIM_PWM_ConfigChannel(&htim3, &sConfigOC, TIM_CHANNEL_2) != HAL_OK)
  {
    _Error_Handler(__FILE__, __LINE__);
  }

  HAL_TIM_MspPostInit(&htim3);

}

/* TIM6 init function */
static void MX_TIM6_Init(void)
{

  TIM_MasterConfigTypeDef sMasterConfig;

  htim6.Instance = TIM6;
  htim6.Init.Prescaler = 7999;
  htim6.Init.CounterMode = TIM_COUNTERMODE_UP;
  htim6.Init.Period = 499;
  if (HAL_TIM_Base_Init(&htim6) != HAL_OK)
  {
    _Error_Handler(__FILE__, __LINE__);
  }

  sMasterConfig.MasterOutputTrigger = TIM_TRGO_UPDATE;
  sMasterConfig.MasterSlaveMode = TIM_MASTERSLAVEMODE_DISABLE;
  if (HAL_TIMEx_MasterConfigSynchronization(&htim6, &sMasterConfig) != HAL_OK)
  {
    _Error_Handler(__FILE__, __LINE__);
  }

}

/* TIM7 init function */
static void MX_TIM7_Init(void)
{

  TIM_MasterConfigTypeDef sMasterConfig;

  htim7.Instance = TIM7;
  htim7.Init.Prescaler = 7999;
  htim7.Init.CounterMode = TIM_COUNTERMODE_UP;
  htim7.Init.Period = 1999;
  if (HAL_TIM_Base_Init(&htim7) != HAL_OK)
  {
    _Error_Handler(__FILE__, __LINE__);
  }

  sMasterConfig.MasterOutputTrigger = TIM_TRGO_UPDATE;
  sMasterConfig.MasterSlaveMode = TIM_MASTERSLAVEMODE_DISABLE;
  if (HAL_TIMEx_MasterConfigSynchronization(&htim7, &sMasterConfig) != HAL_OK)
  {
    _Error_Handler(__FILE__, __LINE__);
  }

}

/* TIM15 init function */
static void MX_TIM15_Init(void)
{

  TIM_ClockConfigTypeDef sClockSourceConfig;
  TIM_MasterConfigTypeDef sMasterConfig;

  htim15.Instance = TIM15;
  htim15.Init.Prescaler = 23999;
  htim15.Init.CounterMode = TIM_COUNTERMODE_UP;
  htim15.Init.Period = 1999;
  htim15.Init.ClockDivision = TIM_CLOCKDIVISION_DIV1;
  htim15.Init.RepetitionCounter = 0;
  if (HAL_TIM_Base_Init(&htim15) != HAL_OK)
  {
    _Error_Handler(__FILE__, __LINE__);
  }

  sClockSourceConfig.ClockSource = TIM_CLOCKSOURCE_INTERNAL;
  if (HAL_TIM_ConfigClockSource(&htim15, &sClockSourceConfig) != HAL_OK)
  {
    _Error_Handler(__FILE__, __LINE__);
  }

  sMasterConfig.MasterOutputTrigger = TIM_TRGO_RESET;
  sMasterConfig.MasterSlaveMode = TIM_MASTERSLAVEMODE_DISABLE;
  if (HAL_TIMEx_MasterConfigSynchronization(&htim15, &sMasterConfig) != HAL_OK)
  {
    _Error_Handler(__FILE__, __LINE__);
  }

}

/* TIM16 init function */
static void MX_TIM16_Init(void)
{

  htim16.Instance = TIM16;
  htim16.Init.Prescaler = 23999;
  htim16.Init.CounterMode = TIM_COUNTERMODE_UP;
  htim16.Init.Period = 2999;
  htim16.Init.ClockDivision = TIM_CLOCKDIVISION_DIV1;
  htim16.Init.RepetitionCounter = 0;
  if (HAL_TIM_Base_Init(&htim16) != HAL_OK)
  {
    _Error_Handler(__FILE__, __LINE__);
  }

}

/* TIM17 init function */
static void MX_TIM17_Init(void)
{

  htim17.Instance = TIM17;
  htim17.Init.Prescaler = 23999;
  htim17.Init.CounterMode = TIM_COUNTERMODE_UP;
  htim17.Init.Period = 59999;
  htim17.Init.ClockDivision = TIM_CLOCKDIVISION_DIV1;
  htim17.Init.RepetitionCounter = 0;
  if (HAL_TIM_Base_Init(&htim17) != HAL_OK)
  {
    _Error_Handler(__FILE__, __LINE__);
  }

}

static void MX_DMA_Init(void)
{
  /* DMA controller clock enable */
  __HAL_RCC_DMA1_CLK_ENABLE();

  /* DMA interrupt init */
  /* DMA1_Channel1_IRQn interrupt configuration */
  HAL_NVIC_SetPriority(DMA1_Channel1_IRQn, 0, 0);
  HAL_NVIC_EnableIRQ(DMA1_Channel1_IRQn);

}

/** Configure pins as
        * Analog
        * Input
        * Output
        * EVENT_OUT
        * EXTI
*/
static void MX_GPIO_Init(void)
{

  GPIO_InitTypeDef GPIO_InitStruct;

  /* GPIO Ports Clock Enable */
  __HAL_RCC_GPIOD_CLK_ENABLE();
  __HAL_RCC_GPIOC_CLK_ENABLE();
  __HAL_RCC_GPIOA_CLK_ENABLE();
  __HAL_RCC_GPIOB_CLK_ENABLE();

  /*Configure GPIO pin Output Level */
  HAL_GPIO_WritePin(GPIOC, GPIO_PIN_0|GPIO_PIN_1|GPIO_PIN_2|GPIO_PIN_3
                          |GPIO_PIN_6|GPIO_PIN_7|GPIO_PIN_8|GPIO_PIN_9
                          |GPIO_PIN_10|GPIO_PIN_11|GPIO_PIN_12, GPIO_PIN_RESET);

  /*Configure GPIO pin Output Level */
  HAL_GPIO_WritePin(GPIOB, GPIO_PIN_0|GPIO_PIN_1|GPIO_PIN_2|GPIO_PIN_10
                          |GPIO_PIN_11|GPIO_PIN_12|GPIO_PIN_13|GPIO_PIN_14
                          |GPIO_PIN_15|GPIO_PIN_3, GPIO_PIN_RESET);

  /*Configure GPIO pin Output Level */
  HAL_GPIO_WritePin(GPIOA, GPIO_PIN_8|GPIO_PIN_11|GPIO_PIN_12|GPIO_PIN_13
                          |GPIO_PIN_14|GPIO_PIN_15, GPIO_PIN_RESET);

  /*Configure GPIO pin Output Level */
  HAL_GPIO_WritePin(GPIOD, GPIO_PIN_2, GPIO_PIN_RESET);

  /*Configure GPIO pins : PC0 PC1 PC2 PC3
                           PC6 PC7 PC8 PC9
                           PC10 PC11 PC12 */
  GPIO_InitStruct.Pin = GPIO_PIN_0|GPIO_PIN_1|GPIO_PIN_2|GPIO_PIN_3
                          |GPIO_PIN_6|GPIO_PIN_7|GPIO_PIN_8|GPIO_PIN_9
                          |GPIO_PIN_10|GPIO_PIN_11|GPIO_PIN_12;
  GPIO_InitStruct.Mode = GPIO_MODE_OUTPUT_PP;
  GPIO_InitStruct.Speed = GPIO_SPEED_FREQ_LOW;
  HAL_GPIO_Init(GPIOC, &GPIO_InitStruct);

  /*Configure GPIO pins : PA6 PA7 */
  GPIO_InitStruct.Pin = GPIO_PIN_6|GPIO_PIN_7;
  GPIO_InitStruct.Mode = GPIO_MODE_INPUT;
  GPIO_InitStruct.Pull = GPIO_PULLUP;
  HAL_GPIO_Init(GPIOA, &GPIO_InitStruct);

  /*Configure GPIO pins : PC4 PC5 */
  GPIO_InitStruct.Pin = GPIO_PIN_4|GPIO_PIN_5;
  GPIO_InitStruct.Mode = GPIO_MODE_INPUT;
  GPIO_InitStruct.Pull = GPIO_PULLUP;
  HAL_GPIO_Init(GPIOC, &GPIO_InitStruct);

  /*Configure GPIO pins : PB0 PB1 PB2 PB10
                           PB11 PB12 PB13 PB14
                           PB15 PB3 */
  GPIO_InitStruct.Pin = GPIO_PIN_0|GPIO_PIN_1|GPIO_PIN_2|GPIO_PIN_10
                          |GPIO_PIN_11|GPIO_PIN_12|GPIO_PIN_13|GPIO_PIN_14
                          |GPIO_PIN_15|GPIO_PIN_3;
  GPIO_InitStruct.Mode = GPIO_MODE_OUTPUT_PP;
  GPIO_InitStruct.Speed = GPIO_SPEED_FREQ_LOW;
  HAL_GPIO_Init(GPIOB, &GPIO_InitStruct);

  /*Configure GPIO pins : PA8 PA11 PA12 PA13
                           PA14 PA15 */
  GPIO_InitStruct.Pin = GPIO_PIN_8|GPIO_PIN_11|GPIO_PIN_12|GPIO_PIN_13
                          |GPIO_PIN_14|GPIO_PIN_15;
  GPIO_InitStruct.Mode = GPIO_MODE_OUTPUT_PP;
  GPIO_InitStruct.Speed = GPIO_SPEED_FREQ_LOW;
  HAL_GPIO_Init(GPIOA, &GPIO_InitStruct);

  /*Configure GPIO pin : PD2 */
  GPIO_InitStruct.Pin = GPIO_PIN_2;
  GPIO_InitStruct.Mode = GPIO_MODE_OUTPUT_PP;
  GPIO_InitStruct.Speed = GPIO_SPEED_FREQ_LOW;
  HAL_GPIO_Init(GPIOD, &GPIO_InitStruct);

  /*Configure GPIO pins : PB4 PB6 */
  GPIO_InitStruct.Pin = GPIO_PIN_4|GPIO_PIN_6;
  GPIO_InitStruct.Mode = GPIO_MODE_INPUT;
  GPIO_InitStruct.Pull = GPIO_PULLUP;
  HAL_GPIO_Init(GPIOB, &GPIO_InitStruct);

  /*Configure GPIO pin : PB8 */
  GPIO_InitStruct.Pin = GPIO_PIN_8;
  GPIO_InitStruct.Mode = GPIO_MODE_INPUT;
  GPIO_InitStruct.Pull = GPIO_PULLDOWN;
  HAL_GPIO_Init(GPIOB, &GPIO_InitStruct);

}

void _Error_Handler(char * file, int line)
{
  while(1)
  {
  }
}

/************************ (C) COPYRIGHT STMicroelectronics *****END OF FILE****/
